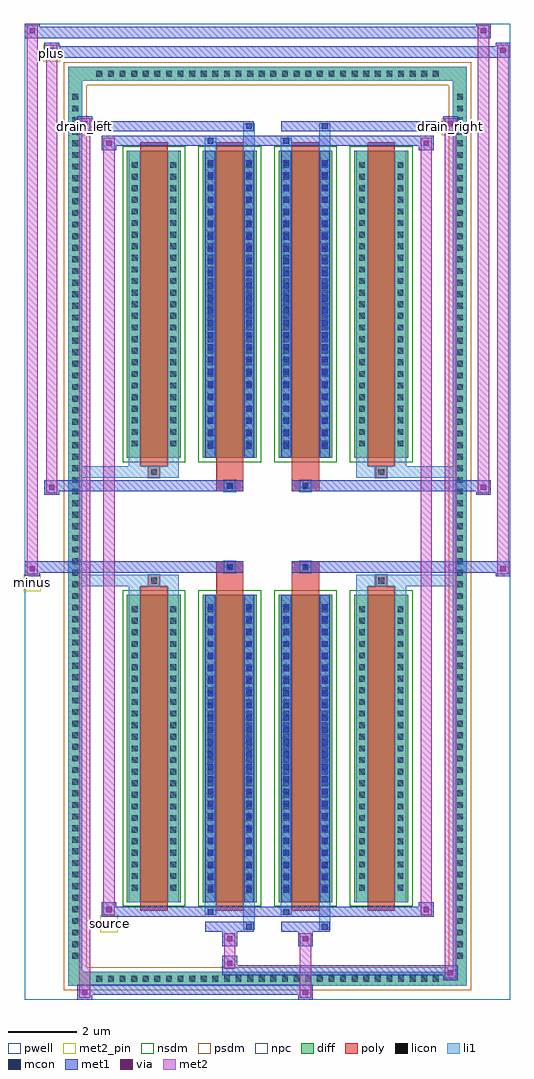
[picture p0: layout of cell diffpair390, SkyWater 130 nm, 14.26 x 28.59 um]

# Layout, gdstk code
import gdstk
lib = gdstk.Library(unit=1e-6, precision=5e-09)
def R(c, l, rs):  # rectangles x0, y0, x1, y1
    for r in rs: c.add(gdstk.rectangle(r[:2], r[2:], *l))
def A(c, l, x, y, w, h, nx, ny, dx, dy):  # array of equal rectangles
    R(c, l, [(x+i*dx, y+j*dy, x+i*dx+w, y+j*dy+h) for i in range(nx) for j in range(ny)])
def P(c, l, *ps):  # polygons
    for p in ps: c.add(gdstk.Polygon(p, *l))
pwell = (64, 44)
diff = (65, 20)
poly = (66, 20)
licon = (66, 44)
li1 = (67, 20)
mcon = (67, 44)
met1 = (68, 20)
via = (68, 44)
met2_pin = (69, 16)
met2 = (69, 20)
nsdm = (93, 44)
psdm = (94, 20)
npc = (95, 20)

diffpair390 = lib.new_cell('diffpair390')
R(diffpair390, pwell, [(-7.11,-13.86,7.11,14.73), (-4.43,-12.05,-0.01,-0.825), (0.01,-12.05,4.43,-0.825), (-4.43,0.825,-0.01,12.05), (0.01,0.825,4.43,12.05)])
A(diffpair390, diff, -5.135, -13.46, 0.41, 0.41, 30, 2, 0.34, 26.51)
A(diffpair390, diff, -5.84, -12.785, 0.41, 0.41, 1, 75, 0, 0.34)
A(diffpair390, diff, 5.43, -12.785, 0.41, 0.41, 1, 75, 0, 0.34)
A(diffpair390, diff, -4.12, -11.005, 1.58, 9, 4, 2, 2.22, 13.01)
R(diffpair390, diff, [(-5.135,-13.46,5.135,-13.05), (-5.84,-12.785,-5.43,12.785), (5.43,-12.785,5.84,12.785), (-5.135,13.05,5.135,13.46)])
P(diffpair390, diff, [(5.84,13.46),(-5.84,13.46),(-5.84,-13.05),(-5.43,-13.05),(-5.43,13.05),(5.43,13.05),(5.43,-13.05),(-5.43,-13.05),(-5.84,-13.05),(-5.84,-13.46),(5.84,-13.46)])
A(diffpair390, poly, -3.73, -11.255, 0.8, 9.5, 4, 2, 2.22, 13.01)
R(diffpair390, poly, [(-3.495,-1.755,-3.165,-1.425), (-3.495,-1.755,-3.165,-1.425), (-1.51,-1.755,-0.71,-1.355), (0.71,-1.755,1.51,-1.355), (3.165,-1.755,3.495,-1.425), (3.165,-1.755,3.495,-1.425), (-1.51,-1.355,-0.71,-1.025), (-1.275,-1.355,-0.945,-1.025), (0.71,-1.355,1.51,-1.025), (0.945,-1.355,1.275,-1.025), (-1.51,1.025,-0.71,1.355), (-1.275,1.025,-0.945,1.355), (0.71,1.025,1.51,1.355), (0.945,1.025,1.275,1.355), (-1.51,1.355,-0.71,1.755), (0.71,1.355,1.51,1.755), (-3.495,1.425,-3.165,1.755), (-3.495,1.425,-3.165,1.755), (3.165,1.425,3.495,1.755), (3.165,1.425,3.495,1.755)])
A(diffpair390, licon, -5.015, -13.34, 0.17, 0.17, 30, 2, 0.34, 26.51)
A(diffpair390, licon, -5.72, -12.665, 0.17, 0.17, 1, 75, 0, 0.34)
A(diffpair390, licon, 5.55, -12.665, 0.17, 0.17, 1, 75, 0, 0.34)
A(diffpair390, licon, -3.98, -10.67, 0.17, 0.17, 1, 25, 0, 0.34)
A(diffpair390, licon, -2.85, -10.67, 0.17, 0.17, 1, 25, 0, 0.34)
A(diffpair390, licon, -1.76, -10.67, 0.17, 0.17, 1, 25, 0, 0.34)
A(diffpair390, licon, -0.63, -10.67, 0.17, 0.17, 1, 25, 0, 0.34)
A(diffpair390, licon, 0.46, -10.67, 0.17, 0.17, 1, 25, 0, 0.34)
A(diffpair390, licon, 1.59, -10.67, 0.17, 0.17, 1, 25, 0, 0.34)
A(diffpair390, licon, 2.68, -10.67, 0.17, 0.17, 1, 25, 0, 0.34)
A(diffpair390, licon, 3.81, -10.67, 0.17, 0.17, 1, 25, 0, 0.34)
A(diffpair390, licon, -3.98, 2.34, 0.17, 0.17, 1, 25, 0, 0.34)
A(diffpair390, licon, -2.85, 2.34, 0.17, 0.17, 1, 25, 0, 0.34)
A(diffpair390, licon, -1.76, 2.34, 0.17, 0.17, 1, 25, 0, 0.34)
A(diffpair390, licon, -0.63, 2.34, 0.17, 0.17, 1, 25, 0, 0.34)
A(diffpair390, licon, 0.46, 2.34, 0.17, 0.17, 1, 25, 0, 0.34)
A(diffpair390, licon, 1.59, 2.34, 0.17, 0.17, 1, 25, 0, 0.34)
A(diffpair390, licon, 2.68, 2.34, 0.17, 0.17, 1, 25, 0, 0.34)
A(diffpair390, licon, 3.81, 2.34, 0.17, 0.17, 1, 25, 0, 0.34)
R(diffpair390, licon, [(-3.415,-1.675,-3.245,-1.505), (3.245,-1.675,3.415,-1.505), (-1.195,-1.275,-1.025,-1.105), (1.025,-1.275,1.195,-1.105), (-1.195,1.105,-1.025,1.275), (1.025,1.105,1.195,1.275), (-3.415,1.505,-3.245,1.675), (3.245,1.505,3.415,1.675)])
A(diffpair390, li1, -5.095, -13.42, 0.33, 0.33, 30, 2, 0.34, 26.51)
A(diffpair390, li1, -5.8, -12.745, 0.33, 0.33, 1, 75, 0, 0.34)
A(diffpair390, li1, 5.47, -12.745, 0.33, 0.33, 1, 75, 0, 0.34)
A(diffpair390, li1, -4.06, -10.75, 0.33, 0.33, 1, 25, 0, 0.34)
A(diffpair390, li1, -2.93, -10.75, 0.33, 0.33, 1, 25, 0, 0.34)
A(diffpair390, li1, -1.84, -10.75, 0.33, 0.33, 1, 25, 0, 0.34)
A(diffpair390, li1, -0.71, -10.75, 0.33, 0.33, 1, 25, 0, 0.34)
A(diffpair390, li1, 0.38, -10.75, 0.33, 0.33, 1, 25, 0, 0.34)
A(diffpair390, li1, 1.51, -10.75, 0.33, 0.33, 1, 25, 0, 0.34)
A(diffpair390, li1, 2.6, -10.75, 0.33, 0.33, 1, 25, 0, 0.34)
A(diffpair390, li1, 3.73, -10.75, 0.33, 0.33, 1, 25, 0, 0.34)
A(diffpair390, li1, -1.76, -10.73, 0.17, 0.17, 1, 24, 0, 0.36)
A(diffpair390, li1, -0.63, -10.73, 0.17, 0.17, 1, 24, 0, 0.36)
A(diffpair390, li1, 0.46, -10.73, 0.17, 0.17, 1, 24, 0, 0.36)
A(diffpair390, li1, 1.59, -10.73, 0.17, 0.17, 1, 24, 0, 0.36)
A(diffpair390, li1, -4.06, 2.26, 0.33, 0.33, 1, 25, 0, 0.34)
A(diffpair390, li1, -2.93, 2.26, 0.33, 0.33, 1, 25, 0, 0.34)
A(diffpair390, li1, -1.84, 2.26, 0.33, 0.33, 1, 25, 0, 0.34)
A(diffpair390, li1, -0.71, 2.26, 0.33, 0.33, 1, 25, 0, 0.34)
A(diffpair390, li1, 0.38, 2.26, 0.33, 0.33, 1, 25, 0, 0.34)
A(diffpair390, li1, 1.51, 2.26, 0.33, 0.33, 1, 25, 0, 0.34)
A(diffpair390, li1, 2.6, 2.26, 0.33, 0.33, 1, 25, 0, 0.34)
A(diffpair390, li1, 3.73, 2.26, 0.33, 0.33, 1, 25, 0, 0.34)
A(diffpair390, li1, -1.76, 2.28, 0.17, 0.17, 1, 24, 0, 0.36)
A(diffpair390, li1, -0.63, 2.28, 0.17, 0.17, 1, 24, 0, 0.36)
A(diffpair390, li1, 0.46, 2.28, 0.17, 0.17, 1, 24, 0, 0.36)
A(diffpair390, li1, 1.59, 2.28, 0.17, 0.17, 1, 24, 0, 0.36)
R(diffpair390, li1, [(-5.84,-13.46,-5.43,-13.05), (-5.84,-13.46,-5.43,-13.05), (-5.43,-13.46,5.43,-13.05), (5.43,-13.46,5.84,-13.05), (5.43,-13.46,5.84,-13.05), (-5.84,-13.05,-5.43,13.05), (5.43,-13.05,5.84,13.05), (-0.71,-11.81,-0.38,-11.005), (-0.63,-11.81,-0.46,-11.64), (1.51,-11.81,1.84,-11.005), (1.59,-11.81,1.76,-11.64), (-1.84,-11.38,-1.51,-11.005), (-1.76,-11.38,-1.59,-11.21), (0.38,-11.38,0.71,-11.005), (0.46,-11.38,0.63,-11.21), (-4.06,-11.005,-3.73,-2.005), (-2.93,-11.005,-2.6,-2.005), (-1.84,-11.005,-1.51,-2.005), (-0.71,-11.005,-0.38,-2.005), (0.38,-11.005,0.71,-2.005), (1.51,-11.005,1.84,-2.005), (2.6,-11.005,2.93,-2.005), (3.73,-11.005,4.06,-2.005), (-1.76,-10.73,-1.59,-2.28), (-0.63,-10.73,-0.46,-2.28), (0.46,-10.73,0.63,-2.28), (1.59,-10.73,1.76,-2.28), (-4.06,-2.005,-3.73,-1.425), (-2.93,-2.005,-2.6,-1.425), (2.6,-2.005,2.93,-1.425), (3.73,-2.005,4.06,-1.425), (-5.84,-1.755,-3.495,-1.425), (-4.06,-1.755,-3.495,-1.425), (-3.495,-1.755,-3.165,-1.425), (-3.165,-1.755,-2.6,-1.425), (2.6,-1.755,3.165,-1.425), (3.165,-1.755,3.495,-1.425), (3.165,-1.755,5.84,-1.425), (3.495,-1.755,4.06,-1.425), (-1.275,-1.355,-0.945,-1.025), (0.945,-1.355,1.275,-1.025), (-1.275,1.025,-0.945,1.355), (0.945,1.025,1.275,1.355), (-5.84,1.425,-3.495,1.755), (-4.06,1.425,-3.495,1.755), (-4.06,1.425,-3.73,2.005), (-3.495,1.425,-3.165,1.755), (-3.165,1.425,-2.6,1.755), (-2.93,1.425,-2.6,2.005), (2.6,1.425,3.165,1.755), (2.6,1.425,2.93,2.005), (3.165,1.425,3.495,1.755), (3.165,1.425,5.84,1.755), (3.495,1.425,4.06,1.755), (3.73,1.425,4.06,2.005), (-4.06,2.005,-3.73,11.005), (-2.93,2.005,-2.6,11.005), (-1.84,2.005,-1.51,11.005), (-0.71,2.005,-0.38,11.005), (0.38,2.005,0.71,11.005), (1.51,2.005,1.84,11.005), (2.6,2.005,2.93,11.005), (3.73,2.005,4.06,11.005), (-1.76,2.28,-1.59,10.73), (-0.63,2.28,-0.46,10.73), (0.46,2.28,0.63,10.73), (1.59,2.28,1.76,10.73), (-1.84,11.005,-1.51,11.38), (-0.71,11.005,-0.38,11.81), (0.38,11.005,0.71,11.38), (1.51,11.005,1.84,11.81), (-1.76,11.21,-1.59,11.38), (0.46,11.21,0.63,11.38), (-0.63,11.64,-0.46,11.81), (1.59,11.64,1.76,11.81), (-5.84,13.05,-5.43,13.46), (-5.84,13.05,-5.43,13.46), (-5.43,13.05,5.43,13.46), (5.43,13.05,5.84,13.46), (5.43,13.05,5.84,13.46)])
A(diffpair390, mcon, -1.76, -10.73, 0.17, 0.17, 1, 24, 0, 0.36)
A(diffpair390, mcon, -0.63, -10.73, 0.17, 0.17, 1, 24, 0, 0.36)
A(diffpair390, mcon, 0.46, -10.73, 0.17, 0.17, 1, 24, 0, 0.36)
A(diffpair390, mcon, 1.59, -10.73, 0.17, 0.17, 1, 24, 0, 0.36)
A(diffpair390, mcon, -1.76, 2.28, 0.17, 0.17, 1, 24, 0, 0.36)
A(diffpair390, mcon, -0.63, 2.28, 0.17, 0.17, 1, 24, 0, 0.36)
A(diffpair390, mcon, 0.46, 2.28, 0.17, 0.17, 1, 24, 0, 0.36)
A(diffpair390, mcon, 1.59, 2.28, 0.17, 0.17, 1, 24, 0, 0.36)
R(diffpair390, mcon, [(-0.63,-11.81,-0.46,-11.64), (1.59,-11.81,1.76,-11.64), (-1.76,-11.38,-1.59,-11.21), (0.46,-11.38,0.63,-11.21), (-1.195,-1.275,-1.025,-1.105), (1.025,-1.275,1.195,-1.105), (-1.195,1.105,-1.025,1.275), (1.025,1.105,1.195,1.275), (-1.76,11.21,-1.59,11.38), (0.46,11.21,0.63,11.38), (-0.63,11.64,-0.46,11.81), (1.59,11.64,1.76,11.81)])
A(diffpair390, met1, -1.82, -10.79, 0.29, 0.29, 1, 24, 0, 0.36)
A(diffpair390, met1, -0.69, -10.79, 0.29, 0.29, 1, 24, 0, 0.36)
A(diffpair390, met1, 0.4, -10.79, 0.29, 0.29, 1, 24, 0, 0.36)
A(diffpair390, met1, 1.53, -10.79, 0.29, 0.29, 1, 24, 0, 0.36)
A(diffpair390, met1, -1.82, 2.22, 0.29, 0.29, 1, 24, 0, 0.36)
A(diffpair390, met1, -0.69, 2.22, 0.29, 0.29, 1, 24, 0, 0.36)
A(diffpair390, met1, 0.4, 2.22, 0.29, 0.29, 1, 24, 0, 0.36)
A(diffpair390, met1, 1.53, 2.22, 0.29, 0.29, 1, 24, 0, 0.36)
R(diffpair390, met1, [(-5.57,-13.86,-5.14,-13.43), (0.895,-13.86,1.325,-13.43), (-5.57,-13.72,1.325,-13.43), (5.14,-13.29,5.57,-12.86), (-1.325,-13.15,5.57,-12.86), (-1.325,-13.01,-0.895,-12.58), (-1.325,-12.3,-0.895,-11.87), (0.895,-12.3,1.325,-11.87), (-1.82,-11.87,-0.4,-11.58), (-0.69,-11.87,-0.4,-11.58), (0.4,-11.87,1.82,-11.58), (1.53,-11.87,1.82,-11.58), (-4.86,-11.44,-4.43,-11.01), (-4.86,-11.44,-1.82,-11.15), (-1.82,-11.44,-1.53,-11.15), (-1.82,-11.44,-0.4,-11.15), (-0.4,-11.44,0.4,-11.15), (0.4,-11.44,0.69,-11.15), (0.4,-11.44,1.82,-11.15), (1.82,-11.44,4.86,-11.15), (4.43,-11.44,4.86,-11.01), (-1.82,-11.005,-1.53,-2.005), (-0.69,-11.005,-0.4,-2.005), (0.4,-11.005,0.69,-2.005), (1.53,-11.005,1.82,-2.005), (-7.11,-1.455,-6.68,-1.025), (6.68,-1.455,7.11,-1.025), (-7.11,-1.355,-0.71,-1.025), (-1.51,-1.355,-0.71,-1.025), (0.71,-1.355,1.51,-1.025), (0.71,-1.355,7.11,-1.025), (-1.255,-1.335,-0.965,-1.045), (0.965,-1.335,1.255,-1.045), (-6.54,0.925,-6.11,1.355), (6.11,0.925,6.54,1.355), (-6.54,1.025,-1.51,1.355), (-1.51,1.025,-0.71,1.355), (0.71,1.025,1.51,1.355), (1.51,1.025,6.54,1.355), (-1.255,1.045,-0.965,1.335), (0.965,1.045,1.255,1.335), (-1.82,2.005,-1.53,11.005), (-0.69,2.005,-0.4,11.005), (0.4,2.005,0.69,11.005), (1.53,2.005,1.82,11.005), (-4.86,11.01,-4.43,11.44), (4.43,11.01,4.86,11.44), (-4.86,11.15,-1.82,11.44), (-1.82,11.15,-1.53,11.44), (-1.82,11.15,-0.4,11.44), (-0.4,11.15,0.4,11.44), (0.4,11.15,0.69,11.44), (0.4,11.15,1.82,11.44), (1.82,11.15,4.86,11.44), (-5.57,11.58,-5.14,12.01), (-5.57,11.58,-1.82,11.87), (-1.82,11.58,-0.4,11.87), (-0.69,11.58,-0.4,11.87), (0.4,11.58,1.82,11.87), (1.53,11.58,1.82,11.87), (1.82,11.58,5.57,11.87), (5.14,11.58,5.57,12.01), (-6.54,13.73,-6.11,14.16), (-6.54,13.73,-4.43,14.06), (-4.43,13.73,4.43,14.06), (4.43,13.73,7.11,14.06), (6.68,13.73,7.11,14.16), (-7.11,14.3,-6.68,14.73), (-7.11,14.3,-4.43,14.63), (-4.43,14.3,4.43,14.63), (4.43,14.3,6.54,14.63), (6.11,14.3,6.54,14.73)])
R(diffpair390, via, [(-5.43,-13.72,-5.28,-13.57), (1.035,-13.72,1.185,-13.57), (5.28,-13.15,5.43,-13), (-1.185,-12.87,-1.035,-12.72), (-1.185,-12.16,-1.035,-12.01), (1.035,-12.16,1.185,-12.01), (-4.72,-11.3,-4.57,-11.15), (4.57,-11.3,4.72,-11.15), (-6.97,-1.315,-6.82,-1.165), (6.82,-1.315,6.97,-1.165), (-6.4,1.065,-6.25,1.215), (6.25,1.065,6.4,1.215), (-4.72,11.15,-4.57,11.3), (4.57,11.15,4.72,11.3), (-5.43,11.72,-5.28,11.87), (5.28,11.72,5.43,11.87), (-6.4,13.87,-6.25,14.02), (6.82,13.87,6.97,14.02), (-6.97,14.44,-6.82,14.59), (6.25,14.44,6.4,14.59)])
R(diffpair390, met2_pin, [(-4.895,-11.89,-4.395,-11.39), (-7.145,-1.905,-6.645,-1.405), (-5.605,11.46,-5.105,11.96), (5.105,11.46,5.605,11.96), (-6.575,13.61,-6.075,14.11)])
R(diffpair390, met2, [(-5.52,-13.81,-5.19,-13.48), (-5.52,-13.81,-5.19,11.96), (0.945,-13.81,1.275,-13.48), (0.945,-13.48,1.275,-12.25), (5.19,-13.24,5.52,-12.91), (5.19,-13.24,5.52,11.96), (-1.275,-12.96,-0.945,-12.63), (-1.275,-12.63,-0.945,-12.25), (-1.275,-12.25,-0.945,-11.92), (0.945,-12.25,1.275,-11.92), (-4.81,-11.39,-4.48,-11.06), (-4.81,-11.39,-4.48,11.39), (4.48,-11.39,4.81,-11.06), (4.48,-11.39,4.81,11.39), (-7.06,-1.405,-6.73,-1.075), (-7.06,-1.405,-6.73,14.68), (6.73,-1.405,7.06,-1.075), (6.73,-1.405,7.06,14.11), (-6.49,0.975,-6.16,1.305), (-6.49,0.975,-6.16,14.11), (6.16,0.975,6.49,1.305), (6.16,0.975,6.49,14.68), (-4.81,11.06,-4.48,11.39), (4.48,11.06,4.81,11.39), (-5.52,11.63,-5.19,11.96), (5.19,11.63,5.52,11.96), (-6.49,13.78,-6.16,14.11), (6.73,13.78,7.06,14.11), (-7.06,14.35,-6.73,14.68), (6.16,14.35,6.49,14.68)])
P(diffpair390, met2, [(7.06,-1.405),(7.06,-1.405),(7.06,-1.075),(7.06,-1.075)],
  [(7.06,13.78),(7.06,13.78),(7.06,14.11),(7.06,14.11)],
  [(-6.73,-1.405),(-6.73,-1.405),(-6.73,-1.075),(-6.73,-1.075)],
  [(-6.73,14.35),(-6.73,14.35),(-6.73,14.68),(-6.73,14.68)],
  [(6.49,0.975),(6.49,0.975),(6.49,1.305),(6.49,1.305)],
  [(6.49,14.35),(6.49,14.35),(6.49,14.68),(6.49,14.68)],
  [(-6.16,0.975),(-6.16,0.975),(-6.16,1.305),(-6.16,1.305)],
  [(-6.16,13.78),(-6.16,13.78),(-6.16,14.11),(-6.16,14.11)],
  [(-5.19,-13.81),(-5.19,-13.81),(-5.19,-13.48),(-5.19,-13.48)],
  [(-5.19,11.63),(-5.19,11.63),(-5.19,11.96),(-5.19,11.96)],
  [(5.52,-13.24),(5.52,-13.24),(5.52,-12.91),(5.52,-12.91)],
  [(5.52,11.63),(5.52,11.63),(5.52,11.96),(5.52,11.96)],
  [(-4.48,-11.39),(-4.48,-11.39),(-4.48,-11.06),(-4.48,-11.06)],
  [(-4.48,11.06),(-4.48,11.06),(-4.48,11.39),(-4.48,11.39)],
  [(4.81,-11.39),(4.81,-11.39),(4.81,-11.06),(4.81,-11.06)],
  [(4.81,11.06),(4.81,11.06),(4.81,11.39),(4.81,11.39)])
A(diffpair390, nsdm, -4.25, -11.135, 1.84, 9.26, 4, 2, 2.22, 13.01)
P(diffpair390, psdm, [(5.97,13.59),(-5.97,13.59),(-5.97,-12.92),(-5.3,-12.92),(-5.3,12.92),(5.3,12.92),(5.3,-12.92),(-5.3,-12.92),(-5.97,-12.92),(-5.97,-13.59),(5.97,-13.59)])
R(diffpair390, npc, [(-3.515,-1.775,-3.145,-1.405), (3.145,-1.775,3.515,-1.405), (-1.295,-1.375,-0.925,-1.005), (0.925,-1.375,1.295,-1.005), (-1.295,1.005,-0.925,1.375), (0.925,1.005,1.295,1.375), (-3.515,1.405,-3.145,1.775), (3.145,1.405,3.515,1.775)])
diffpair390.add(gdstk.Label('minus', (-6.895,-1.655), layer=69, texttype=5))
diffpair390.add(gdstk.Label('drain_right', (5.355,11.71), layer=69, texttype=5))
diffpair390.add(gdstk.Label('drain_left', (-5.355,11.71), layer=69, texttype=5))
diffpair390.add(gdstk.Label('source', (-4.645,-11.64), layer=69, texttype=5))
diffpair390.add(gdstk.Label('plus', (-6.325,13.86), layer=69, texttype=5))

lib.write_gds('diffpair390.gds')
